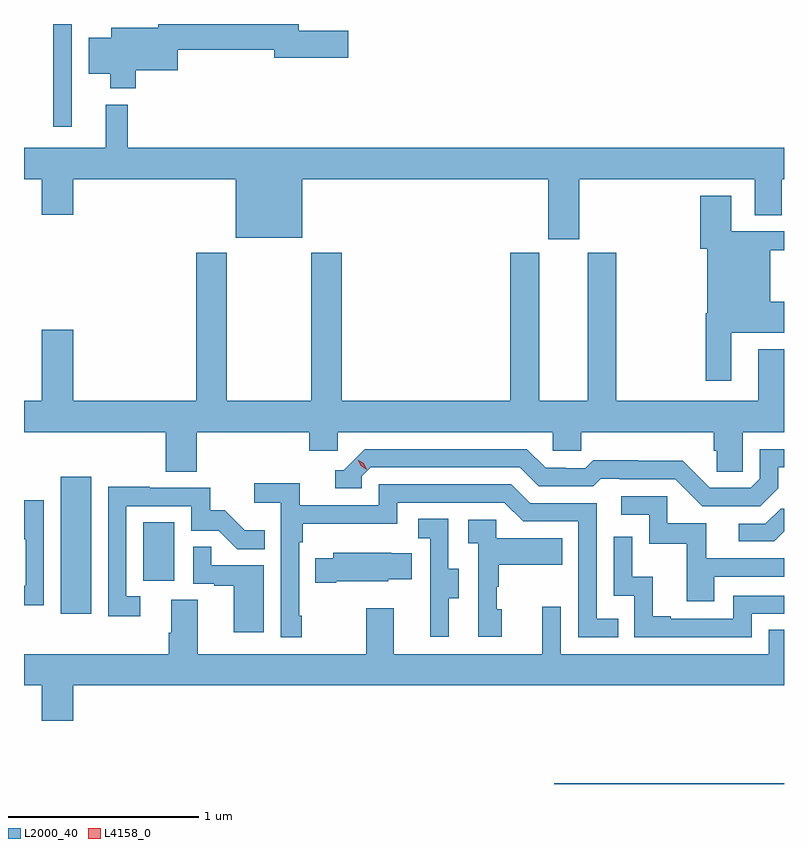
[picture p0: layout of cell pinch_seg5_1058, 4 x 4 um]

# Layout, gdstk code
import gdstk
lib = gdstk.Library(unit=1e-6, precision=1e-09)
def R(c, l, rs):  # rectangles x0, y0, x1, y1
    for r in rs: c.add(gdstk.rectangle(r[:2], r[2:], *l))
def P(c, l, *ps):  # polygons
    for p in ps: c.add(gdstk.Polygon(p, *l))
L2000_40 = (2000, 40)
L4158_0 = (4158, 0)

pinch_seg5_1058 = lib.new_cell('pinch_seg5_1058')
R(pinch_seg5_1058, L2000_40, [(839.033,872.224,840.242,872.228), (836.435,873.12,836.596,873.841), (836.87,873.294,837.034,873.601), (836.396,875.682,836.493,876.224)])
P(pinch_seg5_1058, L2000_40, [(836.831,875.981),(837.052,875.981),(837.052,876.088),(837.56,876.088),(837.56,876.046),(837.949,876.046),(837.949,876.188),(837.688,876.188),(837.688,876.224),(836.948,876.224),(836.948,876.205),(836.702,876.205),(836.702,876.151),(836.582,876.151),(836.582,875.963),(836.696,875.963),(836.696,875.885),(836.831,875.885)],
  [(839.164,875.408),(840.089,875.408),(840.089,875.218),(840.229,875.218),(840.229,875.408),(840.242,875.408),(840.242,875.572),(836.789,875.572),(836.789,875.8),(836.672,875.8),(836.672,875.572),(836.242,875.572),(836.242,875.408),(836.336,875.408),(836.336,875.22),(836.5,875.22),(836.5,875.408),(837.356,875.408),(837.356,875.099),(837.706,875.099),(837.706,875.408),(839,875.408),(839,875.091),(839.164,875.091)],
  [(839.965,874.598),(840.242,874.598),(840.242,874.762),(840.169,874.762),(840.169,875.032),(840.242,875.032),(840.242,875.133),(839.965,875.133),(839.965,875.32),(839.801,875.32),(839.801,875.04),(839.837,875.04),(839.837,874.702),(839.83,874.702),(839.83,874.347),(839.965,874.347)],
  [(837.152,874.076),(837.743,874.076),(837.743,873.978),(837.894,873.978),(837.894,874.076),(839.025,874.076),(839.025,873.978),(839.175,873.978),(839.175,874.076),(839.873,874.076),(839.873,873.978),(839.887,873.978),(839.887,873.868),(840.024,873.868),(840.024,874.076),(840.242,874.076),(840.242,874.513),(840.107,874.513),(840.107,874.24),(839.358,874.24),(839.358,875.019),(839.21,875.019),(839.21,874.24),(838.954,874.24),(838.954,875.019),(838.802,875.019),(838.802,874.24),(837.914,874.24),(837.914,875.02),(837.754,875.02),(837.754,874.24),(837.309,874.24),(837.309,875.02),(837.149,875.02),(837.149,874.24),(836.5,874.24),(836.5,874.615),(836.336,874.615),(836.336,874.24),(836.242,874.24),(836.242,874.076),(836.987,874.076),(836.987,873.868),(837.152,873.868)],
  [(840.211,873.781),(840.211,873.891),(840.242,873.891),(840.242,873.987),(840.114,873.987),(840.114,873.831),(840.066,873.783),(839.85,873.783),(839.708,873.925),(839.472,873.925),(839.472,873.928),(839.239,873.928),(839.197,873.885),(839.094,873.885),(839.094,873.888),(838.987,873.888),(838.888,873.987),(838.035,873.987),(837.924,873.876),(837.881,873.876),(837.881,873.78),(838.02,873.78),(838.02,873.843),(838.068,873.891),(838.851,873.891),(838.95,873.792),(839.239,873.792),(839.278,873.831),(839.377,873.831),(839.377,873.828),(839.67,873.828),(839.811,873.687),(840.117,873.687)],
  [(837.703,873.109),(837.69,873.109),(837.69,873.497),(837.71,873.497),(837.71,873.593),(838.206,873.593),(838.206,873.705),(838.77,873.705),(838.869,873.606),(839.16,873.606),(839.16,872.997),(839.369,872.997),(839.369,873.093),(839.256,873.093),(839.256,873.702),(838.906,873.702),(838.807,873.801),(838.11,873.801),(838.11,873.69),(837.692,873.69),(837.692,873.806),(837.453,873.806),(837.453,873.704),(837.594,873.704),(837.594,872.997),(837.703,872.997)],
  [(836.854,873.213),(836.781,873.213),(836.781,873.687),(837.123,873.687),(837.123,873.558),(837.267,873.558),(837.365,873.46),(837.509,873.46),(837.509,873.559),(837.405,873.559),(837.298,873.666),(837.222,873.666),(837.222,873.783),(836.903,873.783),(836.903,873.788),(836.685,873.788),(836.685,873.108),(836.854,873.108)],
  [(839.875,873.315),(840.242,873.315),(840.242,873.411),(839.833,873.411),(839.833,873.597),(839.628,873.597),(839.628,873.738),(839.385,873.738),(839.385,873.642),(839.532,873.642),(839.532,873.489),(839.731,873.489),(839.731,873.186),(839.875,873.186)],
  [(836.346,873.718),(836.242,873.718),(836.242,873.512),(836.25,873.512),(836.25,873.267),(836.242,873.267),(836.242,873.166),(836.346,873.166)],
  [(840.242,873.553),(840.242,873.674),(840.224,873.674),(840.144,873.594),(840.003,873.594),(840.003,873.501),(840.19,873.501)],
  [(838.477,873.202),(838.531,873.202),(838.531,873.357),(838.476,873.357),(838.476,873.62),(838.317,873.62),(838.317,873.517),(838.38,873.517),(838.38,873.213),(838.379,873.213),(838.379,873),(838.477,873)],
  [(838.756,873.144),(838.731,873.144),(838.731,873.263),(838.741,873.263),(838.741,873.377),(839.075,873.377),(839.075,873.517),(838.728,873.517),(838.728,873.615),(838.581,873.615),(838.581,873.491),(838.632,873.491),(838.632,873),(838.756,873)],
  [(840.072,873.12),(840.242,873.12),(840.242,873.216),(839.976,873.216),(839.976,873.093),(839.647,873.093),(839.647,873.106),(839.552,873.106),(839.552,873.314),(839.442,873.314),(839.442,873.526),(839.346,873.526),(839.346,873.216),(839.454,873.216),(839.454,872.997),(840.072,872.997)],
  [(837.505,873.375),(837.227,873.375),(837.227,873.473),(837.132,873.473),(837.132,873.279),(837.243,873.279),(837.243,873.267),(837.347,873.267),(837.347,873.024),(837.505,873.024)],
  [(837.886,873.29),(838.158,873.29),(838.158,873.302),(838.283,873.302),(838.283,873.439),(838.175,873.439),(838.175,873.442),(837.869,873.442),(837.869,873.412),(837.775,873.412),(837.775,873.283),(837.886,873.283)],
  [(836.5,872.744),(840.242,872.744),(840.242,873.035),(840.162,873.035),(840.162,872.908),(839.067,872.908),(839.067,873.157),(838.97,873.157),(838.97,872.908),(838.189,872.908),(838.189,873.148),(838.042,873.148),(838.042,872.908),(837.157,872.908),(837.157,873.194),(837.017,873.194),(837.017,873.02),(837.005,873.02),(837.005,872.908),(836.242,872.908),(836.242,872.744),(836.336,872.744),(836.336,872.556),(836.5,872.556)])
P(pinch_seg5_1058, L4158_0, [(838.046,873.879),(838.015,873.898),(837.999,873.931),(837.999,873.931),(837.999,873.931),(838.03,873.912),(838.046,873.879),(838.046,873.879)])

lib.write_gds('pinch_seg5_1058.gds')
